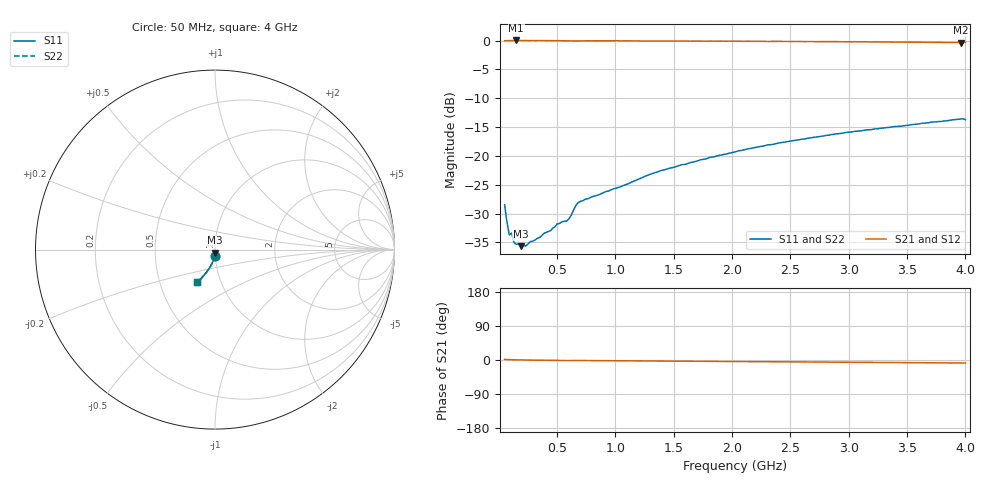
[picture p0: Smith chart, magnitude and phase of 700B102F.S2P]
!  American Technical Ceramics  Date:  3/13/98
!  One Norden Lane
!  Huntington Station,  NY.  11746-2102
!  Tel:  (516) 547-5700  Fax:  (516) 547-5748
!  Part Number  700B102F
!  Description: Porcelain, High Q, Low ESR
!  Application: Bypass, Coupling, Timing, Feedback
!  Tuning, Impedance Match, Blocking
# GHZ S DB R 50
! Freq  |S11|  S11 Ph  |S21|  S21 Ph  |S12|  S12 Ph  |S22|  S22 Ph
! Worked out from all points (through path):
!   201 points, 50 MHz to 4 GHz, reference 50 ohm
!   highest |S21| = 0.03 dB at 150 MHz (marker M1); lowest = -0.3 dB at 3.96 GHz (marker M2)
!   group delay of S21, straight-line fit = 5.61 ps
!   lowest |S11| = -35.6 dB at 190 MHz (marker M3), VSWR 1.03, Z = 50 - j1.65 ohm
!   |S11| at or under -10 dB: start of sweep to end of sweep
!   |S22| runs from -35.6 to -13.5 dB; largest |S21 - S12| = 0
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0.05  -28.47 -88.4  -0.02 1.6  -0.02 1.6  -28.47 -88.4
0.07  -31.44 -89.9  0.00 1.1  0.00 1.1  -31.44 -89.9
0.09  -33.69 -86.1  0.00 0.9  0.00 0.9  -33.69 -86.1
0.11  -33.36 -90.3  0.00 0.6  0.00 0.6  -33.36 -90.3
0.13  -34.99 -89.9  0.02 0.4  0.02 0.4  -34.99 -89.9
0.15  -35.32 -91.6  0.03 0.4  0.03 0.4  -35.32 -91.6
0.19  -35.64 -89.3  0.00 0.3  0.00 0.3  -35.64 -89.3
0.23  -35.62 -91.2  0.03 -0.1  0.03 -0.1  -35.62 -91.2
0.27  -34.85 -91.0  0.00 -0.1  0.00 -0.1  -34.85 -91.0
0.35  -34.13 -90.8  0.01 -0.5  0.01 -0.5  -34.13 -90.8
0.45  -32.88 -92.3  -0.01 -0.7  -0.01 -0.7  -32.88 -92.3
0.5  -31.77 -94.0  -0.02 -1.1  -0.02 -1.1  -31.77 -94.0
0.58  -31.32 -90.3  -0.03 -1.5  -0.03 -1.5  -31.32 -90.3
0.62  -30.33 -84.2  -0.07 -1.5  -0.07 -1.5  -30.33 -84.2
0.66  -28.60 -85.5  -0.06 -1.3  -0.06 -1.3  -28.60 -85.5
0.72  -27.76 -92.1  -0.05 -1.4  -0.05 -1.4  -27.76 -92.1
1.37  -22.68 -101.2  -0.07 -2.8  -0.07 -2.8  -22.68 -101.2
2.03  -19.29 -107.0  -0.10 -4.1  -0.10 -4.1  -19.29 -107.0
2.7  -16.76 -111.9  -0.16 -5.3  -0.16 -5.3  -16.76 -111.9
3.35  -15.04 -115.4  -0.24 -6.6  -0.24 -6.6  -15.04 -115.4
3.96  -13.59 -117.7  -0.34 -7.6  -0.34 -7.6  -13.59 -117.7
4  -13.71 -119.7  -0.30 -7.9  -0.30 -7.9  -13.71 -119.7
